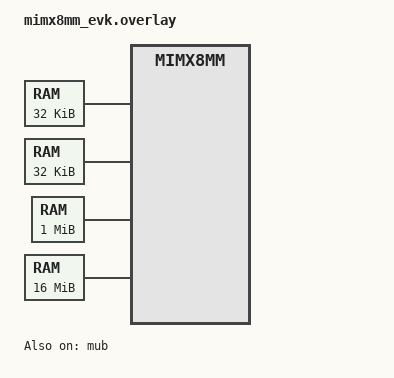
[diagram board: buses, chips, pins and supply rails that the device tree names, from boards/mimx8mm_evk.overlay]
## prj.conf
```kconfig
# enable c++ support
CONFIG_NEWLIB_LIBC=y # use newlib over minimal
CONFIG_CPLUSPLUS=y
CONFIG_LIB_CPLUSPLUS=y
CONFIG_STD_CPP20=y

CONFIG_HEAP_MEM_POOL_SIZE=4096

CONFIG_IPM=y
CONFIG_IPM_IMX_MAX_DATA_SIZE_4=y

CONFIG_OPENAMP=y
CONFIG_OPENAMP_MASTER=n
CONFIG_OPENAMP_SLAVE=y
CONFIG_OPENAMP_RSC_TABLE=n # use custom one
```

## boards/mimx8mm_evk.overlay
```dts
/ {
    chosen {
        zephyr,ipc = &mub;
        zephyr,ipc_shm = &vdevbuffer;
    };

    soc {
        mub: mu@30ab0000 {
            compatible = "nxp,imx-mu";
            reg = <0x30ab0000 DT_SIZE_K(64)>;
            interrupts = <97 0>;
            rdc = < 0xf >;
            label = "MU_B";
            status = "okay";
        };
    };

    vdev0vring0: memory@b8000000 {
        compatible = "mmio-sram";
        reg = <0xb8000000 DT_SIZE_K(32)>;
    };

    vdev0vring1: memory@b8008000 {
        compatible = "mmio-sram";
        reg = <0xb8008000 DT_SIZE_K(32)>;
    };

    vdevbuffer: memory@b8400000 {
        compatible = "mmio-sram";
        reg = <0xb8400000 DT_SIZE_M(1)>;
    };

    unused_ram_atm: memory@80000000 {
        compatible = "mmio-sram";
        reg = <0x80000000 DT_SIZE_M(16)>;
    };
};
```

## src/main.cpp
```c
#include <zephyr.h>
#include <sys/printk.h>
#include <device.h>
#include <drivers/ipm.h>
#include <metal/device.h>
#include <openamp/open_amp.h>
#include "rsc_table.hpp"
#include <string>

#define SHM_START_ADDR (DT_REG_ADDR(DT_CHOSEN(zephyr_ipc_shm)))
#define SHM_SIZE (DT_REG_SIZE(DT_CHOSEN(zephyr_ipc_shm)))

static K_SEM_DEFINE(ipm_sem, 0, 1);
static K_SEM_DEFINE(ept_sem, 0, 1);
static struct rpmsg_virtio_device rvdev;
static const device *ipm;
static std::string rcv_msg;

static void ipm_callback(const device *dev, void *context, uint32_t id, volatile void *data)
{
    // signal to M4 to look into the inbox
    printk("%s\n", __func__);
    k_sem_give(&ipm_sem);
}

int rpvdev_notify_func_callback(void *priv, uint32_t id)
{
    // signal to A53 to look into the inbox
    printk("%s\n", __func__);
    ipm_send(ipm, 1, RPMSG_MU_CHANNEL, NULL, 0);
    return 0;
}

void virtio_dev_reset_cb_callback(virtio_device *vdev)
{

}

void rpmsg_ns_bind_cb_callback(rpmsg_device *rdev, const char *name, uint32_t dest)
{

}

int rpmsg_ept_cb_callback(rpmsg_endpoint *ept, void *data, size_t len, uint32_t src, void *priv)
{
    rcv_msg = (const char*)data;
    printk("%s: message in callback is: %s\n", __func__, rcv_msg.c_str());

    k_sem_give(&ept_sem);
    return RPMSG_SUCCESS;
}

void rpmsg_ns_unbind_cb_callback(rpmsg_endpoint *ept)
{

}

static std::string receive_message()
{
    printk("\n\nWait for message\n");
    while (k_sem_take(&ept_sem, K_NO_WAIT) != 0)
    {
        int status = k_sem_take(&ipm_sem, K_FOREVER);
        if (status == 0)
        {
            rproc_virtio_notified(rvdev.vdev, 1);
        }
    }
    printk("message in the buffer is: %s \n", rcv_msg.c_str());
    return rcv_msg;
}

void app_task(void *unused0, void *unused1, void *unused2)
{
    (void)unused0;
    (void)unused1;
    (void)unused2;

    copyResourceTable();

    // metal stuff
    metal_init_params metal_params = METAL_INIT_DEFAULTS;

    if (metal_init(&metal_params))
    {
        return;
    }

    const char* shm_device_name = "shm";
    const char* bus_name = "generic";

    metal_device shm_device = {
        .name = shm_device_name,
        .num_regions = 2,
        .regions = {
            {.virt = NULL}, /* shared memory */
            {.virt = NULL}, /* rsc_table memory */
        },
        .node = { NULL },
        .irq_num = 0,
        .irq_info = NULL
    };

    if (metal_register_generic_device(&shm_device))
    {
        return;
    }

    metal_device* device_;
    if (metal_device_open(bus_name, shm_device_name, &device_))
    {
        return;
    }

    void* shm_virt = (void *)SHM_START_ADDR;
    metal_phys_addr_t shm_physmap = SHM_START_ADDR;
    size_t shm_size = SHM_SIZE;
    metal_io_init(&device_->regions[0], shm_virt, &shm_physmap, shm_size, -1, 0, NULL);

    metal_io_region* shm_io = metal_device_io_region(device_, 0);
    if (!shm_io)
    {
        return;
    }

    remote_resource_table* rsc_tbl = getResourceTable();

    void* rsc_virt = rsc_tbl;
    metal_phys_addr_t rsc_physmap = (metal_phys_addr_t)rsc_tbl;
    size_t rsc_size = sizeof(remote_resource_table);
    metal_io_init(&device_->regions[1], rsc_virt, &rsc_physmap, rsc_size, -1, 0, NULL);

    metal_io_region* rsc_io = metal_device_io_region(device_, 1);
    if (!rsc_io)
    {
        return;
    }

    // ipm stuff
    ipm = DEVICE_DT_GET(DT_CHOSEN(zephyr_ipc));
    if (!device_is_ready(ipm))
    {
        return;
    }

    ipm_register_callback(ipm, ipm_callback, NULL);
    ipm_set_enabled(ipm, 1);

    printk("IPM initialized, data size = %d\n", CONFIG_IPM_IMX_MAX_DATA_SIZE);

    // vdev/vring stuff
    virtio_device* vdev = rproc_virtio_create_vdev(VIRTIO_DEV_SLAVE, VIRTIO_ID_RPMSG, (void *)&rsc_tbl->user_vdev, rsc_io, NULL, rpvdev_notify_func_callback, virtio_dev_reset_cb_callback);
    if (!vdev)
    {
        return;
    }

    rproc_virtio_wait_remote_ready(vdev);

    fw_rsc_vdev_vring* vring0 = &rsc_tbl->user_vring0;
    if (rproc_virtio_init_vring(vdev, 0, vring0->notifyid, (void *)vring0->da, rsc_io, vring0->num, vring0->align))
    {
        return;
    }

    fw_rsc_vdev_vring* vring1 = &rsc_tbl->user_vring1;
    if (rproc_virtio_init_vring(vdev, 1, vring1->notifyid, (void *)vring1->da, rsc_io, vring1->num, vring1->align))
    {
        return;
    }

    rpmsg_virtio_shm_pool shpool;
    rpmsg_virtio_init_shm_pool(&shpool, shm_virt, shm_size);

    if (rpmsg_init_vdev(&rvdev, vdev, rpmsg_ns_bind_cb_callback, shm_io, &shpool))
    {
        return;
    }

    rpmsg_device* rpdev = rpmsg_virtio_get_rpmsg_device(&rvdev);
    if (!rpdev)
    {
        return;
    }

    const char* rpmsg_channel_name = "rpmsg-virtual-tty-channel-1";

    rpmsg_endpoint rcv_ept;
    if (rpmsg_create_ept(&rcv_ept, rpdev, rpmsg_channel_name, RPMSG_ADDR_ANY, RPMSG_ADDR_ANY, rpmsg_ept_cb_callback, rpmsg_ns_unbind_cb_callback))
    {
        return;
    }

    printk("So far, so good!\n");

    while (1)
    {
        std::string msg = receive_message();
        printk("Sending message : %s \n", msg.c_str());
        rpmsg_send(&rcv_ept, msg.c_str(), msg.size());
    }
}
K_THREAD_DEFINE(app_id, 1024, app_task, NULL, NULL, NULL, K_PRIO_COOP(7), 0, 0);
```

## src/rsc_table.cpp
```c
#include "rsc_table.hpp"
#include <openamp/virtio.h>
#include <stddef.h>
#include <device.h>

#define RSC_VDEV_FEATURE_NS (1) /* Support name service announcement */
#define RSC_VDEV_NUM_VRINGS (2)

#define VDEV0_VRING_BASE (DT_REG_ADDR(DT_NODELABEL(vdev0vring0)))
#define VDEV1_VRING_BASE (DT_REG_ADDR(DT_NODELABEL(vdev0vring1)))

#define VRING_ALIGN (0x1000U)
#define RL_BUFFER_COUNT (256U)
#define RESOURCE_TABLE_OFFSET (0xFF000)

Z_GENERIC_SECTION(.resource_table)
remote_resource_table resources = {
    .version = 1,
    .num = RSC_TABLE_NUM_ENTRY,
    .offset = { offsetof(remote_resource_table, user_vdev), },

    /* SRTM virtio device entry */
    .user_vdev = {
        .type = RSC_VDEV,
        .id = VIRTIO_ID_RPMSG,
        .notifyid = 0,
        .dfeatures = RSC_VDEV_FEATURE_NS,
        .gfeatures = 0,
        .config_len = 0,
        .status = 0,
        .num_of_vrings = RSC_VDEV_NUM_VRINGS,
    },

    /* Vring rsc entry - part of vdev rsc entry */
    .user_vring0 = {
        .da = VDEV0_VRING_BASE,
        .align = VRING_ALIGN,
        .num = RL_BUFFER_COUNT,
        .notifyid = 0,
    },

    .user_vring1 = {
        .da = VDEV1_VRING_BASE,
        .align = VRING_ALIGN,
        .num = RL_BUFFER_COUNT,
        .notifyid = 1
    },
};

void copyResourceTable(void)
{
    /*
     * Resource table should be copied to VDEV0_VRING_BASE + RESOURCE_TABLE_OFFSET.
     * VDEV0_VRING_BASE is temperorily kept for backward compatibility, will be
     * removed in future release
     */
    memcpy((void *)VDEV0_VRING_BASE, &resources, sizeof(resources));
    memcpy((void *)(VDEV0_VRING_BASE + RESOURCE_TABLE_OFFSET), &resources, sizeof(resources));
}

remote_resource_table* getResourceTable(void) {
    return &resources;
}
```

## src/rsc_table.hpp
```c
#pragma once

#include <stdint.h>
#include <openamp/remoteproc.h>

#if defined __cplusplus
extern "C" {
#endif

// RPMSG MU channel index
// As Linux suggests, use MU->Data Channel 1 as communication channel
// see RPMSG-Lite rpmsg_platform.c -> platform_notify
#define RPMSG_MU_CHANNEL (1)

enum resource_table_entries {
	RSC_TABLE_VDEV_ENTRY,
	RSC_TABLE_NUM_ENTRY
};

/* Resource table for the given remote */
METAL_PACKED_BEGIN
struct remote_resource_table
{
    uint32_t version;
    uint32_t num;
    uint32_t reserved[2];
    uint32_t offset[RSC_TABLE_NUM_ENTRY];

    /* rpmsg vdev entry for user app communication */
    fw_rsc_vdev user_vdev;
    fw_rsc_vdev_vring user_vring0;
    fw_rsc_vdev_vring user_vring1;
} METAL_PACKED_END;

/*
 * Copy resource table to shared memory base for early M4 boot case.
 * In M4 early boot case, Linux kernel need to get resource table before file system gets loaded.
 */
void copyResourceTable(void);
remote_resource_table* getResourceTable(void);

#if defined __cplusplus
}
#endif
```
